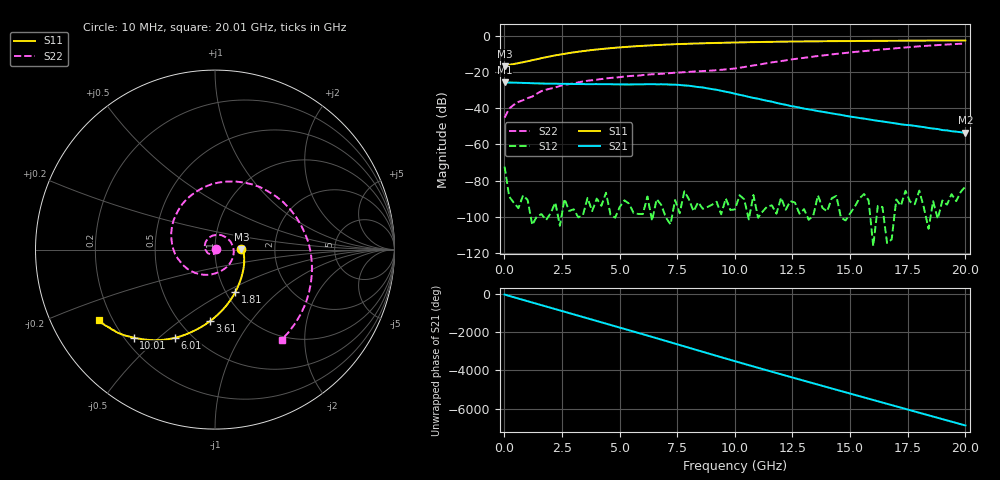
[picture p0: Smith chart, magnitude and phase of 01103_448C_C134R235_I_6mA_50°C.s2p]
!;Filter: kein Filter
!auto
!3/21/2019 9:27:54 AM
!3/21/2019 9:28:10 AM
!SP-Measurements Prober G4
!SP-Measurements Prober G4
!01103_448C
!134
!235
!12
!50
!-20
!0.00599970
!2.02
!0.74959551
!0.74959551
# Hz S  RI  R 50
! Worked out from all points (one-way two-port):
!   101 points, 10 MHz to 20.01 GHz, reference 50 ohm
!   highest |S21| = -25.63 dB at 10 MHz (marker M1); lowest = -53.5 dB at 20.01 GHz (marker M2)
!   lowest |S11| = -16.7 dB at 10 MHz (marker M3), VSWR 1.34, Z = 67.2 + j0.559 ohm
!   |S11| at or under -10 dB: start of sweep to 2.504 GHz
!   |S22| runs from -45.1 to -4.1 dB; largest |S21 - S12| = 0.052
!   S11 on the Smith chart (normalised r, x): 10 MHz: 1.34, +0.01; 1.81 GHz: 1.11, -0.56; 3.61 GHz: 0.69, -0.66; 6.01 GHz: 0.41, -0.57; 10.01 GHz: 0.24, -0.42; 20.01 GHz: 0.15, -0.27
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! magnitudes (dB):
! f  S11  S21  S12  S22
! 10 MHz  -16.7  -25.6  -72.3  -45.1
! 210 MHz  -15.9  -25.7  -88.9  -40.1
! 410 MHz  -15.4  -25.8  -92.3  -38.0
! 610 MHz  -14.9  -25.8  -95.3  -36.4
! 1.21 GHz  -13.3  -26.1  -104.6  -33.5
! 1.61 GHz  -12.2  -26.2  -98.6  -30.4
! 1.81 GHz  -11.7  -26.3  -101.9  -29.6
! 2.61 GHz  -9.8  -26.4  -90.1  -26.9
! 3.41 GHz  -8.3  -26.6  -99.1  -25.1
! 3.61 GHz  -8.0  -26.6  -89.6  -24.7
! 6.01 GHz  -5.3  -26.7  -98.5  -21.5
! 6.81 GHz  -4.8  -26.7  -93.5  -20.9
! 7.61 GHz  -4.4  -27.0  -98.1  -20.1
! 8.61 GHz  -4.0  -28.4  -95.6  -19.3
! 10.01 GHz  -3.5  -31.9  -95.9  -17.9
! 12.41 GHz  -3.0  -38.7  -91.4  -13.0
! 13.41 GHz  -2.9  -41.0  -99.3  -11.3
! 15.01 GHz  -2.7  -44.5  -98.2  -9.0
! 16.81 GHz  -2.6  -48.0  -112.6  -6.9
! 18.81 GHz  -2.4  -51.4  -101.2  -4.9
! 19.01 GHz  -2.4  -52.0  -91.0  -4.8
! 20.01 GHz  -2.4  -53.5  -83.3  -4.1
